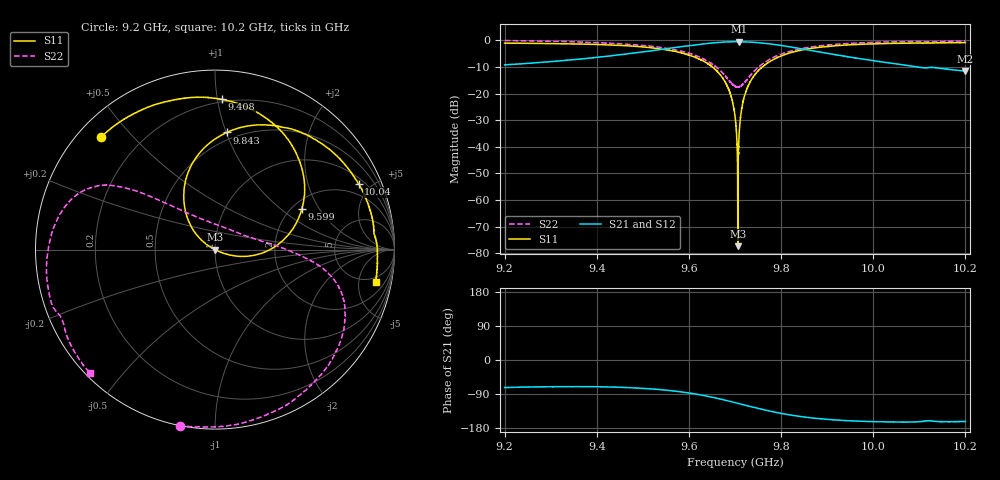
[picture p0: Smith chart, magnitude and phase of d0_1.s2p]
!Agilent Technologies,N5242A,MY51221714,A.09.90.19
!Agilent N5242A: A.09.90.19
!Date: Tuesday, March 26, 2024 16:05:52
!Correction: S11(Full 2 Port(1,2))
!S21(Full 2 Port(1,2))
!S12(Full 2 Port(1,2))
!S22(Full 2 Port(1,2))
!S2P File: Measurements: S11, S21, S12, S22:
# Hz S  dB  R 50
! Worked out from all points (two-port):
!   16001 points, 9.2 GHz to 10.2 GHz, reference 50 ohm
!   highest |S21| = -0.46 dB at 9.708 GHz (marker M1); lowest = -11.5 dB at 10.2 GHz (marker M2)
!   |S21| within 3 dB of the highest: 9.536006 GHz to 9.536343 GHz (337.3 kHz wide, 0.00354 % of centre); 9.536 GHz to 9.855 GHz (318.8 MHz wide, 3.29 % of centre)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
!   lowest |S11| = -77.4 dB at 9.706 GHz (marker M3), VSWR 1.00, Z = 50 - j0.00556 ohm
!   |S11| at or under -10 dB: 9.650981 GHz to 9.651015 GHz (34.05 kHz wide, 0.000353 % of centre); 9.651 GHz to 9.759 GHz (107.7 MHz wide, 1.11 % of centre)
!   |S22| runs from -17.6 to 0.0 dB; largest |S21 - S12| = 0.012
!   S11 on the Smith chart (normalised r, x): 9.2 GHz: 0.07, +0.41; 9.408 GHz: 0.18, +1.03; 9.599 GHz: 2.25, +1.44; 9.843 GHz: 0.44, +1.01; 10.04 GHz: 1.31, +4.21; 10.2 GHz: 3.78, -8.32
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9.2e9  -0.99 135.4  -9.16 -72.7  -9.14 -73.4  0.00 -101.4
9.366688e9  -1.35 97.8  -6.93 -70.3  -6.92 -70.9  -0.63 -57.0
9.408312e9  -1.52 87.3  -6.18 -70.7  -6.18 -71.5  -0.88 -46.6
9.533375e9  -3.07 50.2  -3.52 -77.7  -3.52 -78.3  -2.49 -19.4
9.598938e9  -5.42 25.2  -1.96 -86.9  -1.95 -87.5  -4.75 -8.3
9.6715e9  -13.69 -9.6  -0.65 -103.9  -0.65 -104.5  -11.92 11.7
9.690375e9  -20.37 -19.3  -0.50 -109.5  -0.49 -110.1  -15.67 32.9
9.7e9  -28.44 -24.7  -0.47 -112.5  -0.46 -113.0  -17.13 53.6
9.702688e9  -33.62 -25.1  -0.47 -113.3  -0.46 -113.8  -17.40 60.8
9.70625e9  -77.37 -155.7  -0.47 -114.4  -0.46 -115.0  -17.52 70.1
9.708062e9  -38.95 149.5  -0.46 -115.0  -0.46 -115.5  -17.44 75.0
9.713312e9  -27.00 149.1  -0.48 -116.6  -0.47 -117.1  -17.00 88.4
9.718188e9  -22.57 146.3  -0.50 -118.1  -0.48 -118.6  -16.25 99.4
9.73925e9  -13.76 133.9  -0.68 -124.5  -0.66 -125.1  -12.02 126.4
9.7805e9  -7.42 112.3  -1.39 -136.0  -1.39 -136.7  -6.63 140.6
9.843062e9  -3.66 84.2  -3.09 -149.2  -3.10 -149.8  -3.10 149.2
9.866688e9  -2.94 75.1  -3.80 -152.8  -3.81 -153.3  -2.40 152.4
9.934938e9  -1.77 52.2  -5.84 -159.5  -5.84 -160.1  -1.23 163.8
1.003338e10  -1.13 25.4  -8.42 -163.3  -8.41 -163.9  -0.54 -175.9
1.003719e10  -1.12 24.5  -8.49 -163.3  -8.50 -164.0  -0.52 -175.1
1.019975e10  -0.80 -11.4  -11.51 -162.3  -11.50 -162.8  -0.19 -135.2
1.02e10  -0.78 -11.4  -11.49 -162.3  -11.52 -162.8  -0.19 -135.2
